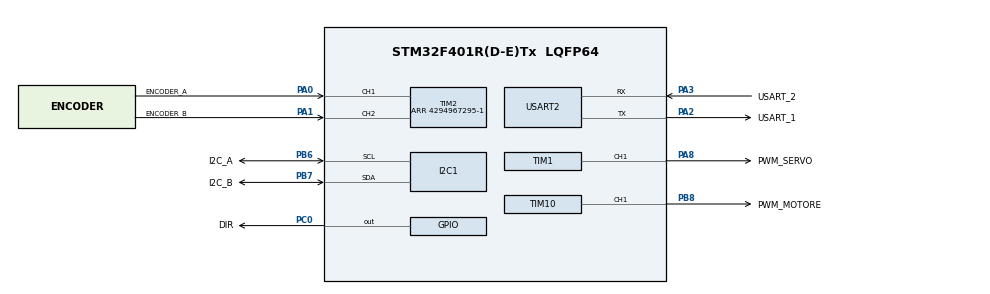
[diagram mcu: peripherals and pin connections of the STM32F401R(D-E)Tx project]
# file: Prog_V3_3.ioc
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Mcu.Family=STM32F4
Mcu.Name=STM32F401R(D-E)Tx
Mcu.Package=LQFP64
NVIC.PriorityGroup=NVIC_PRIORITYGROUP_0
NVIC.TIM1_BRK_TIM9_IRQn=true\:0\:0\:false\:false\:true\:true\:true\:true
NVIC.TIM1_TRG_COM_TIM11_IRQn=true\:0\:0\:false\:false\:true\:true\:true\:true
PA0-WKUP.GPIO_Label=ENCODER_A
PA0-WKUP.Signal=S_TIM2_CH1_ETR
PA1.GPIO_Label=ENCODER_B
PA1.Signal=S_TIM2_CH2
PA13.GPIO_Label=TMS
PA13.Mode=Serial_Wire
PA13.Signal=SYS_JTMS-SWDIO
PA14.GPIO_Label=TCK
PA14.Mode=Serial_Wire
PA14.Signal=SYS_JTCK-SWCLK
PA2.GPIO_Label=USART_1
PA2.Mode=Asynchronous
PA2.Signal=USART2_TX
PA3.GPIO_Label=USART_2
PA3.Mode=Asynchronous
PA3.Signal=USART2_RX
PA8.GPIO_Label=PWM_SERVO
PA8.Signal=S_TIM1_CH1
PB3.GPIO_Label=SWO
PB3.Signal=SYS_JTDO-SWO
PB6.GPIO_Label=I2C_A
PB6.Mode=I2C
PB6.Signal=I2C1_SCL
PB7.GPIO_Label=I2C_B
PB7.Mode=I2C
PB7.Signal=I2C1_SDA
PB8.GPIO_Label=PWM_MOTORE
PB8.Signal=S_TIM10_CH1
PC0.GPIO_Label=DIR
PC0.Signal=GPIO_Output
PC14-OSC32_IN.Mode=LSE-External-Oscillator
PC14-OSC32_IN.Signal=RCC_OSC32_IN
PC15-OSC32_OUT.Mode=LSE-External-Oscillator
PC15-OSC32_OUT.Signal=RCC_OSC32_OUT
PH0\ -\ OSC_IN.Mode=HSE-External-Clock-Source
PH0\ -\ OSC_IN.Signal=RCC_OSC_IN
PH1\ -\ OSC_OUT.Mode=HSE-External-Clock-Source
PH1\ -\ OSC_OUT.Signal=RCC_OSC_OUT
ProjectManager.HeapSize=0x200
ProjectManager.StackSize=0x400
ProjectManager.TargetToolchain=STM32CubeIDE
RCC.48MHZClocksFreq_Value=48000000
RCC.AHBFreq_Value=84000000
RCC.APB1CLKDivider=RCC_HCLK_DIV2
RCC.APB1Freq_Value=42000000
RCC.APB1TimFreq_Value=84000000
RCC.APB2Freq_Value=84000000
RCC.APB2TimFreq_Value=84000000
RCC.CortexFreq_Value=84000000
RCC.HCLKFreq_Value=84000000
RCC.HSE_VALUE=8000000
RCC.HSI_VALUE=16000000
RCC.PLLN=336
RCC.PLLP=RCC_PLLP_DIV4
RCC.PLLQ=7
RCC.SYSCLKFreq_VALUE=84000000
RCC.SYSCLKSource=RCC_SYSCLKSOURCE_PLLCLK
RCC.VCOOutputFreq_Value=336000000
SH.S_TIM10_CH1.0=TIM10_CH1,PWM Generation1 CH1
SH.S_TIM1_CH1.0=TIM1_CH1,PWM Generation1 CH1
SH.S_TIM2_CH1_ETR.0=TIM2_CH1,Encoder_Interface
SH.S_TIM2_CH2.0=TIM2_CH2,Encoder_Interface
TIM1.Channel-PWM\ Generation1\ CH1=TIM_CHANNEL_1
TIM1.Period=1001-1
TIM1.Prescaler=1681-1
TIM10.Channel=TIM_CHANNEL_1
TIM10.Period=1000-1
TIM10.Prescaler=84-1
TIM11.Period=7000-1
TIM11.Prescaler=120-1
TIM2.EncoderMode=TIM_ENCODERMODE_TI12
TIM2.IC1Filter=10
TIM2.Period=4294967295-1
USART2.VirtualMode=VM_ASYNC
VP_TIM10_VS_ClockSourceINT.Mode=Enable_Timer
VP_TIM11_VS_ClockSourceINT.Mode=Enable_Timer
VP_TIM1_VS_ClockSourceINT.Mode=Internal
board=NUCLEO-F401RE

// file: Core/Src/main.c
/* USER CODE BEGIN Header */
/**
 ******************************************************************************
 * @file           : main.c
 * @brief          : Main program body
 ******************************************************************************
 * @attention
 *
 * Copyright (c) 2023 STMicroelectronics.
 * All rights reserved.
 *
 * This software is licensed under terms that can be found in the LICENSE file
 * in the root directory of this software component.
 * If no LICENSE file comes with this software, it is provided AS-IS.
 *
 ******************************************************************************
 */
/* USER CODE END Header */
#include "main.h"

/* USER CODE BEGIN Includes */
#include "stdio.h"
#include "servo_motor.h"
#include "PID.h"
#include "DC_motor.h"
#include "bno055_stm32.h"
#include "math.h"

/* USER CODE END Includes */

/* USER CODE BEGIN PD */
#ifndef HSEM_ID_0
#define HSEM_ID_0 (0U) /* HW semaphore 0*/
#endif
/* USER CODE END PD */

I2C_HandleTypeDef hi2c1;

TIM_HandleTypeDef htim1;
TIM_HandleTypeDef htim2;
TIM_HandleTypeDef htim10;
TIM_HandleTypeDef htim11;

UART_HandleTypeDef huart2;

/* USER CODE BEGIN PV */

int flag = 0;
int n = 0;
int n1 = 0;
PID pid, pid_servo;
double u;
double u1;
float y_ref = 0;
uint8_t direction;
double duty;
double old_duty = 0;
double delta_duty = 0;
int flag_Tc = 0;
int n_ref = 0;
int counts = 0;
double delta_angle;
double diff_angle;
int diff_count;
int ref_count;
int dir;
float speed;
double old_delta_angle;
int old_dir = 0;
int ENCODER_PPR = 2048;
int GEARBOX_RATIO = 1;
int ENCODER_COUNTING_MODE = 4;
double dt = 0.1;
double dt_servo = 0.01;
int flag10_ms = 0;
int conta = 0;
double curvatura_riferimento = 0;
double yaw_ref = 0;
double raggio_riferimento = 1.2;
float m_s = 1;
double steering_angle = 0;

/* USER CODE END PV */

void SystemClock_Config(void);
static void MX_GPIO_Init(void);
static void MX_I2C1_Init(void);
static void MX_TIM1_Init(void);
static void MX_TIM10_Init(void);
static void MX_TIM11_Init(void);
static void MX_USART2_UART_Init(void);
static void MX_TIM2_Init(void);

int main(void) {

	/* MCU Configuration--------------------------------------------------------*/

	/* Reset of all peripherals, Initializes the Flash interface and the Systick. */
	HAL_Init();

	/* Configure the system clock */
	SystemClock_Config();

	/* Initialize all configured peripherals */
	MX_GPIO_Init();
	MX_I2C1_Init();
	MX_TIM1_Init();
	MX_TIM10_Init();
	MX_TIM11_Init();
	MX_USART2_UART_Init();
	MX_TIM2_Init();
	/* USER CODE BEGIN 2 */

	HAL_TIM_PWM_Start(&htim1, TIM_CHANNEL_1);
	HAL_TIM_PWM_Start(&htim10, TIM_CHANNEL_1);

	HAL_TIM_Encoder_Start(&htim2, TIM_CHANNEL_ALL);
	HAL_TIM_Base_Start_IT(&htim11);
	init_PID(&pid, dt, MAX_V_ENCODER, -MAX_V_ENCODER);
	tune_PID(&pid, 0.001, 0.0018, 0);

	init_PID(&pid_servo, dt_servo, MAX_ANGOLO, MIN_ANGOLO);
	tune_PID(&pid_servo, 1.25, 250, 0);
	HAL_StatusTypeDef ret = HAL_I2C_IsDeviceReady(&hi2c1, BNO055_I2C_ADDR << 1,
			5, 1000);
	bno055_assignI2C(&hi2c1);
	bno055_setup();
	bno055_setOperationModeNDOF();
	/* USER CODE END 2 */

	/* Infinite loop */
	/* USER CODE BEGIN WHILE */
	while (1) {

		if (flag_Tc == 1) {
			flag_Tc = 0;

			ref_count = TIM2->ARR / 2;
			diff_count = counts - ref_count;
			diff_angle = (diff_count * 360)
					/ ((double) (ENCODER_PPR * ENCODER_COUNTING_MODE
							* GEARBOX_RATIO));
			speed = diff_angle / dt;

			direction = Ref2Direction(y_ref);

			y_ref = m_s / GIRI_MIN_CONV;

			float speed2 = speed;
			float y_ref2 = y_ref;
			if (speed2 < 0)
				speed2 = -speed2;
			if (y_ref2 < 0)
				y_ref2 = -y_ref2;

			u = PID_controller(&pid, speed2 * 60 / 360, y_ref2);
			delta_duty = Voltage2Duty(u);
			duty = old_duty + delta_duty;
			set_PWM_and_dir((uint32_t) duty, direction);
		}

		if(flag10_ms == 1){
			flag10_ms = 0;
			bno055_vector_t v = bno055_getVectorGyroscope();
			double yaw_rate = v.z;
			double yaw_rate_rad = (yaw_rate*PI)/180;
			if (raggio_riferimento == 0){
				u1 = PID_controller(&pid_servo, yaw_rate, 0);
				servo_motor(-u1);
			} else {
				yaw_ref = m_s/(raggio_riferimento);
				double yaw_rate2 = yaw_rate_rad;
				double yaw_ref2 = yaw_ref;
				if (yaw_rate2 < 0)
				yaw_rate2 = -yaw_rate2;
				if (yaw_ref2 < 0)
				yaw_ref2= -yaw_ref2;

				u1 = PID_controller(&pid_servo, yaw_rate2, yaw_ref2);

				if(raggio_riferimento >= 0 && u1 > 0)
					u1*=-1;
				if(raggio_riferimento <  0 && u1 < 0)
					u1*=-1;
				servo_motor((int)u1);
			}
		}

		 /* USER CODE END WHILE */

	}
}

	/**
	 * @brief System Clock Configuration
	 * @retval None
	 */
	void SystemClock_Config(void) {
		RCC_OscInitTypeDef RCC_OscInitStruct = { 0 };
		RCC_ClkInitTypeDef RCC_ClkInitStruct = { 0 };

		/** Configure the main internal regulator output voltage
		 */
		__HAL_RCC_PWR_CLK_ENABLE();
		__HAL_PWR_VOLTAGESCALING_CONFIG(PWR_REGULATOR_VOLTAGE_SCALE2);

		/** Initializes the RCC Oscillators according to the specified parameters
		 * in the RCC_OscInitTypeDef structure.
		 */
		RCC_OscInitStruct.OscillatorType = RCC_OSCILLATORTYPE_HSI;
		RCC_OscInitStruct.HSIState = RCC_HSI_ON;
		RCC_OscInitStruct.HSICalibrationValue = RCC_HSICALIBRATION_DEFAULT;
		RCC_OscInitStruct.PLL.PLLState = RCC_PLL_ON;
		RCC_OscInitStruct.PLL.PLLSource = RCC_PLLSOURCE_HSI;
		RCC_OscInitStruct.PLL.PLLM = 16;
		RCC_OscInitStruct.PLL.PLLN = 336;
		RCC_OscInitStruct.PLL.PLLP = RCC_PLLP_DIV4;
		RCC_OscInitStruct.PLL.PLLQ = 7;
		if (HAL_RCC_OscConfig(&RCC_OscInitStruct) != HAL_OK) {
			Error_Handler();
		}

		/** Initializes the CPU, AHB and APB buses clocks
		 */
		RCC_ClkInitStruct.ClockType = RCC_CLOCKTYPE_HCLK | RCC_CLOCKTYPE_SYSCLK
				| RCC_CLOCKTYPE_PCLK1 | RCC_CLOCKTYPE_PCLK2;
		RCC_ClkInitStruct.SYSCLKSource = RCC_SYSCLKSOURCE_PLLCLK;
		RCC_ClkInitStruct.AHBCLKDivider = RCC_SYSCLK_DIV1;
		RCC_ClkInitStruct.APB1CLKDivider = RCC_HCLK_DIV2;
		RCC_ClkInitStruct.APB2CLKDivider = RCC_HCLK_DIV1;

		if (HAL_RCC_ClockConfig(&RCC_ClkInitStruct, FLASH_LATENCY_2)
				!= HAL_OK) {
			Error_Handler();
		}
	}

	/**
	 * @brief I2C1 Initialization Function
	 * @param None
	 * @retval None
	 */
	static void MX_I2C1_Init(void) {

		hi2c1.Instance = I2C1;
		hi2c1.Init.ClockSpeed = 100000;
		hi2c1.Init.DutyCycle = I2C_DUTYCYCLE_2;
		hi2c1.Init.OwnAddress1 = 0;
		hi2c1.Init.AddressingMode = I2C_ADDRESSINGMODE_7BIT;
		hi2c1.Init.DualAddressMode = I2C_DUALADDRESS_DISABLE;
		hi2c1.Init.OwnAddress2 = 0;
		hi2c1.Init.GeneralCallMode = I2C_GENERALCALL_DISABLE;
		hi2c1.Init.NoStretchMode = I2C_NOSTRETCH_DISABLE;
		if (HAL_I2C_Init(&hi2c1) != HAL_OK) {
			Error_Handler();
		}

	}

	/**
	 * @brief TIM1 Initialization Function
	 * @param None
	 * @retval None
	 */
	static void MX_TIM1_Init(void) {

		TIM_ClockConfigTypeDef sClockSourceConfig = { 0 };
		TIM_MasterConfigTypeDef sMasterConfig = { 0 };
		TIM_OC_InitTypeDef sConfigOC = { 0 };
		TIM_BreakDeadTimeConfigTypeDef sBreakDeadTimeConfig = { 0 };

		htim1.Instance = TIM1;
		htim1.Init.Prescaler = 1681 - 1;
		htim1.Init.CounterMode = TIM_COUNTERMODE_UP;
		htim1.Init.Period = 1001 - 1;
		htim1.Init.ClockDivision = TIM_CLOCKDIVISION_DIV1;
		htim1.Init.RepetitionCounter = 0;
		htim1.Init.AutoReloadPreload = TIM_AUTORELOAD_PRELOAD_DISABLE;
		if (HAL_TIM_Base_Init(&htim1) != HAL_OK) {
			Error_Handler();
		}
		sClockSourceConfig.ClockSource = TIM_CLOCKSOURCE_INTERNAL;
		if (HAL_TIM_ConfigClockSource(&htim1, &sClockSourceConfig) != HAL_OK) {
			Error_Handler();
		}
		if (HAL_TIM_PWM_Init(&htim1) != HAL_OK) {
			Error_Handler();
		}
		sMasterConfig.MasterOutputTrigger = TIM_TRGO_RESET;
		sMasterConfig.MasterSlaveMode = TIM_MASTERSLAVEMODE_DISABLE;
		if (HAL_TIMEx_MasterConfigSynchronization(&htim1, &sMasterConfig)
				!= HAL_OK) {
			Error_Handler();
		}
		sConfigOC.OCMode = TIM_OCMODE_PWM1;
		sConfigOC.Pulse = 0;
		sConfigOC.OCPolarity = TIM_OCPOLARITY_HIGH;
		sConfigOC.OCNPolarity = TIM_OCNPOLARITY_HIGH;
		sConfigOC.OCFastMode = TIM_OCFAST_DISABLE;
		sConfigOC.OCIdleState = TIM_OCIDLESTATE_RESET;
		sConfigOC.OCNIdleState = TIM_OCNIDLESTATE_RESET;
		if (HAL_TIM_PWM_ConfigChannel(&htim1, &sConfigOC, TIM_CHANNEL_1)
				!= HAL_OK) {
			Error_Handler();
		}
		sBreakDeadTimeConfig.OffStateRunMode = TIM_OSSR_DISABLE;
		sBreakDeadTimeConfig.OffStateIDLEMode = TIM_OSSI_DISABLE;
		sBreakDeadTimeConfig.LockLevel = TIM_LOCKLEVEL_OFF;
		sBreakDeadTimeConfig.DeadTime = 0;
		sBreakDeadTimeConfig.BreakState = TIM_BREAK_DISABLE;
		sBreakDeadTimeConfig.BreakPolarity = TIM_BREAKPOLARITY_HIGH;
		sBreakDeadTimeConfig.AutomaticOutput = TIM_AUTOMATICOUTPUT_DISABLE;
		if (HAL_TIMEx_ConfigBreakDeadTime(&htim1, &sBreakDeadTimeConfig)
				!= HAL_OK) {
			Error_Handler();
		}
		HAL_TIM_MspPostInit(&htim1);

	}

	/**
	 * @brief TIM2 Initialization Function
	 * @param None
	 * @retval None
	 */
	static void MX_TIM2_Init(void) {

		TIM_Encoder_InitTypeDef sConfig = { 0 };
		TIM_MasterConfigTypeDef sMasterConfig = { 0 };

		htim2.Instance = TIM2;
		htim2.Init.Prescaler = 0;
		htim2.Init.CounterMode = TIM_COUNTERMODE_UP;
		htim2.Init.Period = 4294967295 - 1;
		htim2.Init.ClockDivision = TIM_CLOCKDIVISION_DIV1;
		htim2.Init.AutoReloadPreload = TIM_AUTORELOAD_PRELOAD_DISABLE;
		sConfig.EncoderMode = TIM_ENCODERMODE_TI12;
		sConfig.IC1Polarity = TIM_ICPOLARITY_RISING;
		sConfig.IC1Selection = TIM_ICSELECTION_DIRECTTI;
		sConfig.IC1Prescaler = TIM_ICPSC_DIV1;
		sConfig.IC1Filter = 10;
		sConfig.IC2Polarity = TIM_ICPOLARITY_RISING;
		sConfig.IC2Selection = TIM_ICSELECTION_DIRECTTI;
		sConfig.IC2Prescaler = TIM_ICPSC_DIV1;
		sConfig.IC2Filter = 0;
		if (HAL_TIM_Encoder_Init(&htim2, &sConfig) != HAL_OK) {
			Error_Handler();
		}
		sMasterConfig.MasterOutputTrigger = TIM_TRGO_RESET;
		sMasterConfig.MasterSlaveMode = TIM_MASTERSLAVEMODE_DISABLE;
		if (HAL_TIMEx_MasterConfigSynchronization(&htim2, &sMasterConfig)
				!= HAL_OK) {
			Error_Handler();
		}

	}

	/**
	 * @brief TIM10 Initialization Function
	 * @param None
	 * @retval None
	 */
	static void MX_TIM10_Init(void) {

		TIM_OC_InitTypeDef sConfigOC = { 0 };

		htim10.Instance = TIM10;
		htim10.Init.Prescaler = 84 - 1;
		htim10.Init.CounterMode = TIM_COUNTERMODE_UP;
		htim10.Init.Period = 1000 - 1;
		htim10.Init.ClockDivision = TIM_CLOCKDIVISION_DIV1;
		htim10.Init.AutoReloadPreload = TIM_AUTORELOAD_PRELOAD_DISABLE;
		if (HAL_TIM_Base_Init(&htim10) != HAL_OK) {
			Error_Handler();
		}
		if (HAL_TIM_PWM_Init(&htim10) != HAL_OK) {
			Error_Handler();
		}
		sConfigOC.OCMode = TIM_OCMODE_PWM1;
		sConfigOC.Pulse = 0;
		sConfigOC.OCPolarity = TIM_OCPOLARITY_HIGH;
		sConfigOC.OCFastMode = TIM_OCFAST_DISABLE;
		if (HAL_TIM_PWM_ConfigChannel(&htim10, &sConfigOC, TIM_CHANNEL_1)
				!= HAL_OK) {
			Error_Handler();
		}
		HAL_TIM_MspPostInit(&htim10);

	}

	/**
	 * @brief TIM11 Initialization Function
	 * @param None
	 * @retval None
	 */
	static void MX_TIM11_Init(void) {

		htim11.Instance = TIM11;
		htim11.Init.Prescaler = 120 - 1;
		htim11.Init.CounterMode = TIM_COUNTERMODE_UP;
		htim11.Init.Period = 7000 - 1;
		htim11.Init.ClockDivision = TIM_CLOCKDIVISION_DIV1;
		htim11.Init.AutoReloadPreload = TIM_AUTORELOAD_PRELOAD_DISABLE;
		if (HAL_TIM_Base_Init(&htim11) != HAL_OK) {
			Error_Handler();
		}

	}

	/**
	 * @brief USART2 Initialization Function
	 * @param None
	 * @retval None
	 */
	static void MX_USART2_UART_Init(void) {

		huart2.Instance = USART2;
		huart2.Init.BaudRate = 115200;
		huart2.Init.WordLength = UART_WORDLENGTH_8B;
		huart2.Init.StopBits = UART_STOPBITS_1;
		huart2.Init.Parity = UART_PARITY_NONE;
		huart2.Init.Mode = UART_MODE_TX_RX;
		huart2.Init.HwFlowCtl = UART_HWCONTROL_NONE;
		huart2.Init.OverSampling = UART_OVERSAMPLING_16;
		if (HAL_UART_Init(&huart2) != HAL_OK) {
			Error_Handler();
		}

	}

	/**
	 * @brief GPIO Initialization Function
	 * @param None
	 * @retval None
	 */
	static void MX_GPIO_Init(void) {
		GPIO_InitTypeDef GPIO_InitStruct = { 0 };

		/* GPIO Ports Clock Enable */
		__HAL_RCC_GPIOC_CLK_ENABLE();
		__HAL_RCC_GPIOH_CLK_ENABLE();
		__HAL_RCC_GPIOA_CLK_ENABLE();
		__HAL_RCC_GPIOB_CLK_ENABLE();

		/*Configure GPIO pin Output Level */
		HAL_GPIO_WritePin(DIR_GPIO_Port, DIR_Pin, GPIO_PIN_RESET);

		/*Configure GPIO pin : DIR_Pin */
		GPIO_InitStruct.Pin = DIR_Pin;
		GPIO_InitStruct.Mode = GPIO_MODE_OUTPUT_PP;
		GPIO_InitStruct.Pull = GPIO_NOPULL;
		GPIO_InitStruct.Speed = GPIO_SPEED_FREQ_LOW;
		HAL_GPIO_Init(DIR_GPIO_Port, &GPIO_InitStruct);

	}

	/* USER CODE BEGIN 4 */

//giansimone, walter
	int __io_putchar(int ch) {
		HAL_UART_Transmit(&huart2, (uint8_t*) &ch, 1, 0xFFFF);
		return ch;
	}

	void HAL_TIM_PeriodElapsedCallback(TIM_HandleTypeDef *htim) {
		if (htim == &htim11) {
			flag10_ms = 1;
			n++;
			n1++;

			if (n1 == 200) {
				raggio_riferimento = 0;
			}

			if (n1 == 400) {
				raggio_riferimento = -1.4;
			}

			if (n == 10) {
				counts = TIM2->CNT;
				flag_Tc = 1;
				TIM2->CNT = TIM2->ARR / 2;
				n = 0;
			}

		}
	}

	/* USER CODE END 4 */

	/**
	 * @brief  This function is executed in case of error occurrence.
	 * @retval None
	 */
	void Error_Handler(void) {
		__disable_irq();
		while (1) {
		}
	}
